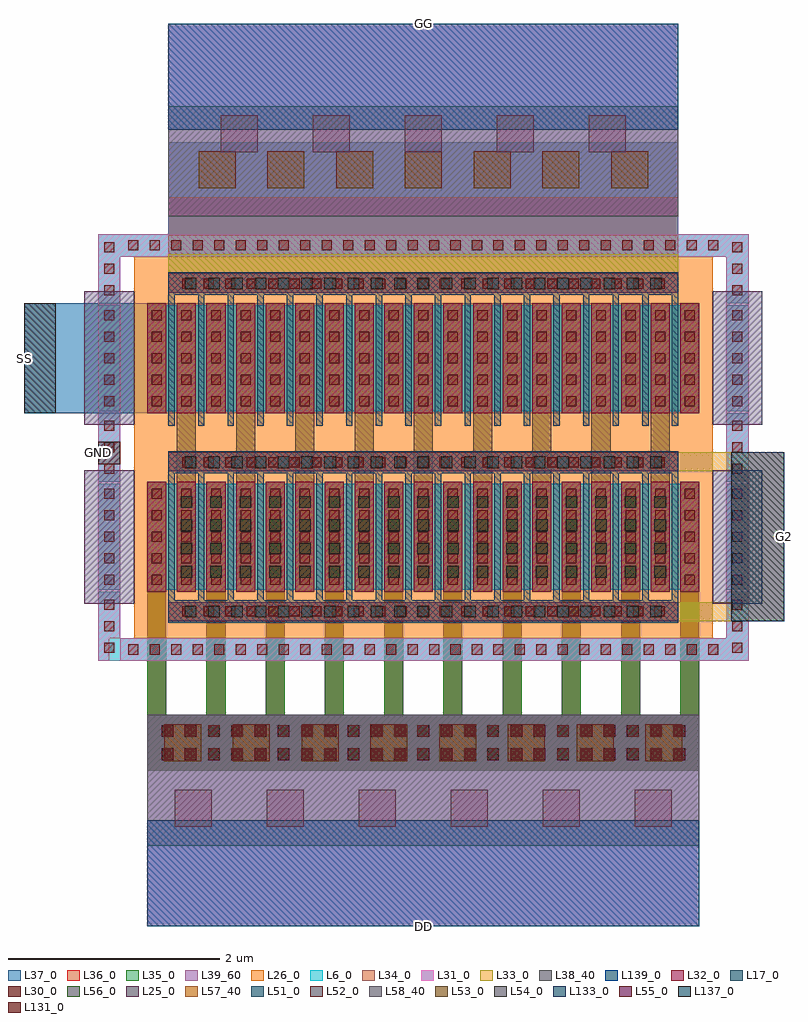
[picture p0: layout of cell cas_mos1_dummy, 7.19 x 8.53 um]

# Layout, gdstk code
import gdstk
lib = gdstk.Library(unit=1e-6, precision=1e-09)
def R(c, l, rs):  # rectangles x0, y0, x1, y1
    for r in rs: c.add(gdstk.rectangle(r[:2], r[2:], *l))
def A(c, l, x, y, w, h, nx, ny, dx, dy):  # array of equal rectangles
    R(c, l, [(x+i*dx, y+j*dy, x+i*dx+w, y+j*dy+h) for i in range(nx) for j in range(ny)])
def P(c, l, *ps):  # polygons
    for p in ps: c.add(gdstk.Polygon(p, *l))
L6_0 = (6, 0)
L17_0 = (17, 0)
L25_0 = (25, 0)
L26_0 = (26, 0)
L30_0 = (30, 0)
L31_0 = (31, 0)
L32_0 = (32, 0)
L33_0 = (33, 0)
L34_0 = (34, 0)
L35_0 = (35, 0)
L36_0 = (36, 0)
L37_0 = (37, 0)
L38_40 = (38, 40)
L39_60 = (39, 60)
L51_0 = (51, 0)
L52_0 = (52, 0)
L53_0 = (53, 0)
L54_0 = (54, 0)
L55_0 = (55, 0)
L56_0 = (56, 0)
L57_40 = (57, 40)
L58_40 = (58, 40)
L131_0 = (131, 0)
L133_0 = (133, 0)
L137_0 = (137, 0)
L139_0 = (139, 0)

cas_mos1_dummy = lib.new_cell('cas_mos1_dummy')
R(cas_mos1_dummy, L6_0, [(-0.47,-1.69,-0.26,-0.69), (0,-1.69,5.21,-0.69), (5.47,-1.69,5.68,-0.69), (-0.47,-0.67,-0.26,-0.02), (5.47,-0.67,5.68,-0.02), (-0.47,0,-0.26,1), (0,0,5.21,1), (5.47,0,5.68,1)])
P(cas_mos1_dummy, L6_0, [(-0.26,-1.71),(-0.47,-1.71),(-0.47,-2.36),(5.68,-2.36),(5.68,-2.36),(5.68,-1.71),(5.47,-1.71),(5.47,-2.15),(-0.26,-2.15)],
  [(-0.47,1.02),(-0.26,1.02),(-0.26,1.46),(5.47,1.46),(5.47,1.02),(5.68,1.02),(5.68,1.67),(5.68,1.67),(-0.47,1.67)])
A(cas_mos1_dummy, L17_0, 0.195, -1.79, 0.06, 1.2, 18, 1, 0.28, 0)
A(cas_mos1_dummy, L17_0, 0.195, -0.14, 0.06, 1.24, 18, 1, 0.28, 0)
R(cas_mos1_dummy, L17_0, [(0.195,-2,5.015,-1.79), (0.195,-0.59,5.015,-0.38), (0.195,1.1,5.015,1.31)])
R(cas_mos1_dummy, L25_0, [(-0.6,-1.82,-0.13,-0.56), (5.34,-1.82,5.81,-0.56), (-0.6,-0.13,-0.13,1.13), (5.34,-0.13,5.81,1.13)])
R(cas_mos1_dummy, L26_0, [(-0.13,-2.15,5.34,1.46)])
A(cas_mos1_dummy, L30_0, -0.183, -2.302, 0.095, 0.095, 28, 1, 0.203, 0)
A(cas_mos1_dummy, L30_0, -0.412, -2.285, 0.095, 0.095, 1, 3, 0, 0.203)
A(cas_mos1_dummy, L30_0, 5.527, -2.285, 0.095, 0.095, 1, 3, 0, 0.203)
A(cas_mos1_dummy, L30_0, 0.325, -1.942, 0.095, 0.094, 12, 2, 0.203, 3.1)
A(cas_mos1_dummy, L30_0, 3.369, -1.942, 0.095, 0.094, 6, 2, 0.203, 3.1)
A(cas_mos1_dummy, L30_0, -0.412, -1.643, 0.095, 0.095, 1, 5, 0, 0.203)
A(cas_mos1_dummy, L30_0, 0.037, -1.643, 0.095, 0.095, 1, 5, 0, 0.203)
A(cas_mos1_dummy, L30_0, 0.317, -1.643, 0.095, 0.095, 1, 5, 0, 0.203)
A(cas_mos1_dummy, L30_0, 0.598, -1.643, 0.094, 0.095, 6, 5, 0.28, 0.203)
A(cas_mos1_dummy, L30_0, 2.277, -1.643, 0.096, 0.095, 1, 5, 0, 0.203)
A(cas_mos1_dummy, L30_0, 2.558, -1.643, 0.094, 0.095, 1, 5, 0, 0.203)
A(cas_mos1_dummy, L30_0, 2.838, -1.643, 0.094, 0.095, 1, 5, 0, 0.203)
A(cas_mos1_dummy, L30_0, 3.117, -1.643, 0.095, 0.095, 1, 5, 0, 0.203)
A(cas_mos1_dummy, L30_0, 3.397, -1.643, 0.095, 0.095, 1, 5, 0, 0.203)
A(cas_mos1_dummy, L30_0, 3.678, -1.643, 0.094, 0.095, 6, 5, 0.28, 0.203)
A(cas_mos1_dummy, L30_0, 5.527, -1.643, 0.095, 0.095, 1, 5, 0, 0.203)
A(cas_mos1_dummy, L30_0, -0.412, -0.595, 0.095, 0.095, 1, 3, 0, 0.203)
A(cas_mos1_dummy, L30_0, 5.527, -0.595, 0.095, 0.095, 1, 3, 0, 0.203)
A(cas_mos1_dummy, L30_0, 0.325, -0.532, 0.095, 0.095, 12, 1, 0.203, 0)
A(cas_mos1_dummy, L30_0, 3.369, -0.532, 0.095, 0.095, 6, 1, 0.203, 0)
A(cas_mos1_dummy, L30_0, -0.412, 0.046, 0.095, 0.095, 1, 5, 0, 0.203)
A(cas_mos1_dummy, L30_0, 0.037, 0.046, 0.095, 0.095, 1, 5, 0, 0.203)
A(cas_mos1_dummy, L30_0, 0.317, 0.046, 0.095, 0.095, 1, 5, 0, 0.203)
A(cas_mos1_dummy, L30_0, 0.598, 0.046, 0.094, 0.095, 6, 5, 0.28, 0.203)
A(cas_mos1_dummy, L30_0, 2.277, 0.046, 0.096, 0.095, 1, 5, 0, 0.203)
A(cas_mos1_dummy, L30_0, 2.558, 0.046, 0.094, 0.095, 1, 5, 0, 0.203)
A(cas_mos1_dummy, L30_0, 2.838, 0.046, 0.094, 0.095, 1, 5, 0, 0.203)
A(cas_mos1_dummy, L30_0, 3.117, 0.046, 0.095, 0.095, 1, 5, 0, 0.203)
A(cas_mos1_dummy, L30_0, 3.397, 0.046, 0.095, 0.095, 1, 5, 0, 0.203)
A(cas_mos1_dummy, L30_0, 3.678, 0.046, 0.094, 0.095, 6, 5, 0.28, 0.203)
A(cas_mos1_dummy, L30_0, 5.527, 0.046, 0.095, 0.095, 1, 5, 0, 0.203)
A(cas_mos1_dummy, L30_0, -0.412, 1.094, 0.095, 0.095, 1, 3, 0, 0.203)
A(cas_mos1_dummy, L30_0, 5.527, 1.094, 0.095, 0.095, 1, 3, 0, 0.203)
A(cas_mos1_dummy, L30_0, -0.183, 1.518, 0.095, 0.094, 28, 1, 0.203, 0)
R(cas_mos1_dummy, L30_0, [(2.76,-1.942,2.856,-1.848), (2.964,-1.942,3.058,-1.848), (3.166,-1.942,3.262,-1.848), (4.588,-1.942,4.682,-1.848), (4.79,-1.942,4.886,-1.848), (2.76,-0.532,2.856,-0.437), (2.964,-0.532,3.058,-0.437), (3.166,-0.532,3.262,-0.437), (4.588,-0.532,4.682,-0.437), (4.79,-0.532,4.886,-0.437), (2.76,1.158,2.856,1.252), (2.964,1.158,3.058,1.252), (3.166,1.158,3.262,1.252), (4.588,1.158,4.682,1.252), (4.79,1.158,4.886,1.252)])
A(cas_mos1_dummy, L31_0, -0.005, -1.71, 0.18, 1.04, 19, 2, 0.28, 1.69)
R(cas_mos1_dummy, L31_0, [(0.195,-1.99,5.015,-1.81), (0.195,-0.57,5.015,-0.39), (0.195,1.12,5.015,1.3)])
P(cas_mos1_dummy, L31_0, [(-0.365,-2.15),(-0.365,-2.36),(5.68,-2.36),(5.68,-2.36),(5.68,1.67),(5.68,1.67),(-0.47,1.67),(-0.47,-2.36),(-0.26,-2.36),(-0.26,1.46),(5.47,1.46),(5.47,-2.15)])
A(cas_mos1_dummy, L32_0, -0.005, -1.71, 0.18, 1.04, 19, 2, 0.28, 1.69)
R(cas_mos1_dummy, L32_0, [(0.195,-1.99,5.015,-1.81), (0.195,-0.57,5.015,-0.39), (0.195,1.12,5.015,1.3)])
A(cas_mos1_dummy, L33_0, -0.005, -1.71, 0.18, 1.04, 19, 2, 0.28, 1.69)
R(cas_mos1_dummy, L33_0, [(0.195,-1.99,5.015,-1.81), (5.015,-1.99,5.515,-1.81), (5.515,-1.99,6.015,-0.39), (0.195,-0.57,5.015,-0.39), (5.015,-0.57,5.515,-0.39), (0.195,1.12,5.015,1.3), (0.195,1.3,5.015,1.48)])
A(cas_mos1_dummy, L34_0, -0.005, -1.71, 0.18, 1.04, 19, 2, 0.28, 1.69)
R(cas_mos1_dummy, L34_0, [(0.275,-0.67,0.455,-0.02), (0.275,-0.67,0.455,-0.02), (0.275,-0.67,0.455,-0.02), (0.275,-0.67,0.455,-0.02), (0.275,-0.67,0.455,-0.02), (0.835,-0.67,1.015,-0.02), (0.835,-0.67,1.015,-0.02), (0.835,-0.67,1.015,-0.02), (0.835,-0.67,1.015,-0.02), (0.835,-0.67,1.015,-0.02), (1.395,-0.67,1.575,-0.02), (1.395,-0.67,1.575,-0.02), (1.395,-0.67,1.575,-0.02), (1.395,-0.67,1.575,-0.02), (1.395,-0.67,1.575,-0.02), (1.955,-0.67,2.135,-0.02), (1.955,-0.67,2.135,-0.02), (1.955,-0.67,2.135,-0.02), (1.955,-0.67,2.135,-0.02), (1.955,-0.67,2.135,-0.02), (2.515,-0.67,2.695,-0.02), (2.515,-0.67,2.695,-0.02), (2.515,-0.67,2.695,-0.02), (2.515,-0.67,2.695,-0.02), (2.515,-0.67,2.695,-0.02), (3.075,-0.67,3.255,-0.02), (3.075,-0.67,3.255,-0.02), (3.075,-0.67,3.255,-0.02), (3.075,-0.67,3.255,-0.02), (3.075,-0.67,3.255,-0.02), (3.635,-0.67,3.815,-0.02), (3.635,-0.67,3.815,-0.02), (3.635,-0.67,3.815,-0.02), (3.635,-0.67,3.815,-0.02), (3.635,-0.67,3.815,-0.02), (4.195,-0.67,4.375,-0.02), (4.195,-0.67,4.375,-0.02), (4.195,-0.67,4.375,-0.02), (4.195,-0.67,4.375,-0.02), (4.195,-0.67,4.375,-0.02), (4.755,-0.67,4.935,-0.02), (4.755,-0.67,4.935,-0.02), (4.755,-0.67,4.935,-0.02), (4.755,-0.67,4.935,-0.02), (4.755,-0.67,4.935,-0.02), (0.195,1.3,5.015,1.66)])
A(cas_mos1_dummy, L35_0, -0.005, -1.71, 0.18, 1.04, 19, 2, 0.28, 1.69)
R(cas_mos1_dummy, L35_0, [(-0.005,-3.4,5.215,-2.87), (-0.005,-2.87,0.175,-1.71), (-0.005,-2.87,0.175,-1.71), (-0.005,-2.87,0.175,-1.71), (-0.005,-2.87,0.175,-1.71), (0.555,-2.87,0.735,-1.71), (0.555,-2.87,0.735,-1.71), (0.555,-2.87,0.735,-1.71), (0.555,-2.87,0.735,-1.71), (0.555,-2.87,0.735,-1.71), (1.115,-2.87,1.295,-1.71), (1.115,-2.87,1.295,-1.71), (1.115,-2.87,1.295,-1.71), (1.115,-2.87,1.295,-1.71), (1.115,-2.87,1.295,-1.71), (1.675,-2.87,1.855,-1.71), (1.675,-2.87,1.855,-1.71), (1.675,-2.87,1.855,-1.71), (1.675,-2.87,1.855,-1.71), (1.675,-2.87,1.855,-1.71), (2.235,-2.87,2.415,-1.71), (2.235,-2.87,2.415,-1.71), (2.235,-2.87,2.415,-1.71), (2.235,-2.87,2.415,-1.71), (2.235,-2.87,2.415,-1.71), (2.795,-2.87,2.975,-1.71), (2.795,-2.87,2.975,-1.71), (2.795,-2.87,2.975,-1.71), (2.795,-2.87,2.975,-1.71), (2.795,-2.87,2.975,-1.71), (3.355,-2.87,3.535,-1.71), (3.355,-2.87,3.535,-1.71), (3.355,-2.87,3.535,-1.71), (3.355,-2.87,3.535,-1.71), (3.355,-2.87,3.535,-1.71), (3.915,-2.87,4.095,-1.71), (3.915,-2.87,4.095,-1.71), (3.915,-2.87,4.095,-1.71), (3.915,-2.87,4.095,-1.71), (3.915,-2.87,4.095,-1.71), (4.475,-2.87,4.655,-1.71), (4.475,-2.87,4.655,-1.71), (4.475,-2.87,4.655,-1.71), (4.475,-2.87,4.655,-1.71), (4.475,-2.87,4.655,-1.71), (5.035,-2.87,5.215,-1.71), (5.035,-2.87,5.215,-1.71), (5.035,-2.87,5.215,-1.71), (5.035,-2.87,5.215,-1.71), (5.035,-2.87,5.215,-1.71), (-0.005,-2.36,0.175,-1.71), (5.035,-1.71,5.215,-0.67), (5.035,-1.71,5.215,-0.67), (5.035,-1.71,5.215,-0.67), (5.035,-1.71,5.215,-0.67), (5.035,-1.71,5.215,-0.67), (0.275,-0.67,0.455,-0.02), (0.275,-0.67,0.455,-0.02), (0.275,-0.67,0.455,-0.02), (0.275,-0.67,0.455,-0.02), (0.275,-0.67,0.455,-0.02), (0.835,-0.67,1.015,-0.02), (0.835,-0.67,1.015,-0.02), (0.835,-0.67,1.015,-0.02), (0.835,-0.67,1.015,-0.02), (0.835,-0.67,1.015,-0.02), (1.395,-0.67,1.575,-0.02), (1.395,-0.67,1.575,-0.02), (1.395,-0.67,1.575,-0.02), (1.395,-0.67,1.575,-0.02), (1.395,-0.67,1.575,-0.02), (1.955,-0.67,2.135,-0.02), (1.955,-0.67,2.135,-0.02), (1.955,-0.67,2.135,-0.02), (1.955,-0.67,2.135,-0.02), (1.955,-0.67,2.135,-0.02), (2.515,-0.67,2.695,-0.02), (2.515,-0.67,2.695,-0.02), (2.515,-0.67,2.695,-0.02), (2.515,-0.67,2.695,-0.02), (2.515,-0.67,2.695,-0.02), (3.075,-0.67,3.255,-0.02), (3.075,-0.67,3.255,-0.02), (3.075,-0.67,3.255,-0.02), (3.075,-0.67,3.255,-0.02), (3.075,-0.67,3.255,-0.02), (3.635,-0.67,3.815,-0.02), (3.635,-0.67,3.815,-0.02), (3.635,-0.67,3.815,-0.02), (3.635,-0.67,3.815,-0.02), (3.635,-0.67,3.815,-0.02), (4.195,-0.67,4.375,-0.02), (4.195,-0.67,4.375,-0.02), (4.195,-0.67,4.375,-0.02), (4.195,-0.67,4.375,-0.02), (4.195,-0.67,4.375,-0.02), (4.755,-0.67,4.935,-0.02), (4.755,-0.67,4.935,-0.02), (4.755,-0.67,4.935,-0.02), (4.755,-0.67,4.935,-0.02), (4.755,-0.67,4.935,-0.02), (0.195,1.48,5.015,1.84)])
R(cas_mos1_dummy, L36_0, [(-0.005,-3.4,5.215,-2.87), (-0.005,-2.87,0.175,-1.71), (-0.005,-2.87,0.175,-1.71), (-0.005,-2.87,0.175,-1.71), (-0.005,-2.87,0.175,-1.71), (0.555,-2.87,0.735,-1.71), (0.555,-2.87,0.735,-1.71), (0.555,-2.87,0.735,-1.71), (0.555,-2.87,0.735,-1.71), (0.555,-2.87,0.735,-1.71), (1.115,-2.87,1.295,-1.71), (1.115,-2.87,1.295,-1.71), (1.115,-2.87,1.295,-1.71), (1.115,-2.87,1.295,-1.71), (1.115,-2.87,1.295,-1.71), (1.675,-2.87,1.855,-1.71), (1.675,-2.87,1.855,-1.71), (1.675,-2.87,1.855,-1.71), (1.675,-2.87,1.855,-1.71), (1.675,-2.87,1.855,-1.71), (2.235,-2.87,2.415,-1.71), (2.235,-2.87,2.415,-1.71), (2.235,-2.87,2.415,-1.71), (2.235,-2.87,2.415,-1.71), (2.235,-2.87,2.415,-1.71), (2.795,-2.87,2.975,-1.71), (2.795,-2.87,2.975,-1.71), (2.795,-2.87,2.975,-1.71), (2.795,-2.87,2.975,-1.71), (2.795,-2.87,2.975,-1.71), (3.355,-2.87,3.535,-1.71), (3.355,-2.87,3.535,-1.71), (3.355,-2.87,3.535,-1.71), (3.355,-2.87,3.535,-1.71), (3.355,-2.87,3.535,-1.71), (3.915,-2.87,4.095,-1.71), (3.915,-2.87,4.095,-1.71), (3.915,-2.87,4.095,-1.71), (3.915,-2.87,4.095,-1.71), (3.915,-2.87,4.095,-1.71), (4.475,-2.87,4.655,-1.71), (4.475,-2.87,4.655,-1.71), (4.475,-2.87,4.655,-1.71), (4.475,-2.87,4.655,-1.71), (4.475,-2.87,4.655,-1.71), (5.035,-2.87,5.215,-1.71), (5.035,-2.87,5.215,-1.71), (5.035,-2.87,5.215,-1.71), (5.035,-2.87,5.215,-1.71), (5.035,-2.87,5.215,-1.71), (-0.005,-2.36,0.175,-1.71), (-0.005,-1.71,0.175,-0.67), (-0.005,-1.71,0.175,-0.67), (-0.005,-1.71,0.175,-0.67), (-0.005,-1.71,0.175,-0.67), (-0.005,-1.71,0.175,-0.67), (0.555,-1.71,0.735,-0.67), (0.555,-1.71,0.735,-0.67), (0.555,-1.71,0.735,-0.67), (0.555,-1.71,0.735,-0.67), (0.555,-1.71,0.735,-0.67), (1.115,-1.71,1.295,-0.67), (1.115,-1.71,1.295,-0.67), (1.115,-1.71,1.295,-0.67), (1.115,-1.71,1.295,-0.67), (1.115,-1.71,1.295,-0.67), (1.675,-1.71,1.855,-0.67), (1.675,-1.71,1.855,-0.67), (1.675,-1.71,1.855,-0.67), (1.675,-1.71,1.855,-0.67), (1.675,-1.71,1.855,-0.67), (2.235,-1.71,2.415,-0.67), (2.235,-1.71,2.415,-0.67), (2.235,-1.71,2.415,-0.67), (2.235,-1.71,2.415,-0.67), (2.235,-1.71,2.415,-0.67), (2.795,-1.71,2.975,-0.67), (2.795,-1.71,2.975,-0.67), (2.795,-1.71,2.975,-0.67), (2.795,-1.71,2.975,-0.67), (2.795,-1.71,2.975,-0.67), (3.355,-1.71,3.535,-0.67), (3.355,-1.71,3.535,-0.67), (3.355,-1.71,3.535,-0.67), (3.355,-1.71,3.535,-0.67), (3.355,-1.71,3.535,-0.67), (3.915,-1.71,4.095,-0.67), (3.915,-1.71,4.095,-0.67), (3.915,-1.71,4.095,-0.67), (3.915,-1.71,4.095,-0.67), (3.915,-1.71,4.095,-0.67), (4.475,-1.71,4.655,-0.67), (4.475,-1.71,4.655,-0.67), (4.475,-1.71,4.655,-0.67), (4.475,-1.71,4.655,-0.67), (4.475,-1.71,4.655,-0.67), (5.035,-1.71,5.215,-0.67), (5.035,-1.71,5.215,-0.67), (5.035,-1.71,5.215,-0.67), (5.035,-1.71,5.215,-0.67), (5.035,-1.71,5.215,-0.67), (-0.005,-0.02,0.175,1.02), (0.555,-0.02,0.735,1.02), (0.555,-0.02,0.735,1.02), (0.555,-0.02,0.735,1.02), (0.555,-0.02,0.735,1.02), (0.555,-0.02,0.735,1.02), (1.115,-0.02,1.295,1.02), (1.115,-0.02,1.295,1.02), (1.115,-0.02,1.295,1.02), (1.115,-0.02,1.295,1.02), (1.115,-0.02,1.295,1.02), (1.675,-0.02,1.855,1.02), (1.675,-0.02,1.855,1.02), (1.675,-0.02,1.855,1.02), (1.675,-0.02,1.855,1.02), (1.675,-0.02,1.855,1.02), (2.235,-0.02,2.415,1.02), (2.235,-0.02,2.415,1.02), (2.235,-0.02,2.415,1.02), (2.235,-0.02,2.415,1.02), (2.235,-0.02,2.415,1.02), (2.795,-0.02,2.975,1.02), (2.795,-0.02,2.975,1.02), (2.795,-0.02,2.975,1.02), (2.795,-0.02,2.975,1.02), (2.795,-0.02,2.975,1.02), (3.355,-0.02,3.535,1.02), (3.355,-0.02,3.535,1.02), (3.355,-0.02,3.535,1.02), (3.355,-0.02,3.535,1.02), (3.355,-0.02,3.535,1.02), (3.915,-0.02,4.095,1.02), (3.915,-0.02,4.095,1.02), (3.915,-0.02,4.095,1.02), (3.915,-0.02,4.095,1.02), (3.915,-0.02,4.095,1.02), (4.475,-0.02,4.655,1.02), (4.475,-0.02,4.655,1.02), (4.475,-0.02,4.655,1.02), (4.475,-0.02,4.655,1.02), (4.475,-0.02,4.655,1.02), (5.035,-0.02,5.215,1.02), (0.195,1.66,5.015,2.02)])
R(cas_mos1_dummy, L37_0, [(-0.005,-3.4,5.215,-2.87), (-0.005,-2.87,0.175,-1.71), (-0.005,-2.87,0.175,-1.71), (-0.005,-2.87,0.175,-1.71), (-0.005,-2.87,0.175,-1.71), (0.555,-2.87,0.735,-1.71), (0.555,-2.87,0.735,-1.71), (0.555,-2.87,0.735,-1.71), (0.555,-2.87,0.735,-1.71), (0.555,-2.87,0.735,-1.71), (1.115,-2.87,1.295,-1.71), (1.115,-2.87,1.295,-1.71), (1.115,-2.87,1.295,-1.71), (1.115,-2.87,1.295,-1.71), (1.115,-2.87,1.295,-1.71), (1.675,-2.87,1.855,-1.71), (1.675,-2.87,1.855,-1.71), (1.675,-2.87,1.855,-1.71), (1.675,-2.87,1.855,-1.71), (1.675,-2.87,1.855,-1.71), (2.235,-2.87,2.415,-1.71), (2.235,-2.87,2.415,-1.71), (2.235,-2.87,2.415,-1.71), (2.235,-2.87,2.415,-1.71), (2.235,-2.87,2.415,-1.71), (2.795,-2.87,2.975,-1.71), (2.795,-2.87,2.975,-1.71), (2.795,-2.87,2.975,-1.71), (2.795,-2.87,2.975,-1.71), (2.795,-2.87,2.975,-1.71), (3.355,-2.87,3.535,-1.71), (3.355,-2.87,3.535,-1.71), (3.355,-2.87,3.535,-1.71), (3.355,-2.87,3.535,-1.71), (3.355,-2.87,3.535,-1.71), (3.915,-2.87,4.095,-1.71), (3.915,-2.87,4.095,-1.71), (3.915,-2.87,4.095,-1.71), (3.915,-2.87,4.095,-1.71), (3.915,-2.87,4.095,-1.71), (4.475,-2.87,4.655,-1.71), (4.475,-2.87,4.655,-1.71), (4.475,-2.87,4.655,-1.71), (4.475,-2.87,4.655,-1.71), (4.475,-2.87,4.655,-1.71), (5.035,-2.87,5.215,-1.71), (5.035,-2.87,5.215,-1.71), (5.035,-2.87,5.215,-1.71), (5.035,-2.87,5.215,-1.71), (5.035,-2.87,5.215,-1.71), (-0.005,-2.36,0.175,-1.71), (-0.005,-1.71,0.175,-0.67), (-0.005,-1.71,0.175,-0.67), (-0.005,-1.71,0.175,-0.67), (-0.005,-1.71,0.175,-0.67), (-0.005,-1.71,0.175,-0.67), (0.555,-1.71,0.735,-0.67), (0.555,-1.71,0.735,-0.67), (0.555,-1.71,0.735,-0.67), (0.555,-1.71,0.735,-0.67), (0.555,-1.71,0.735,-0.67), (1.115,-1.71,1.295,-0.67), (1.115,-1.71,1.295,-0.67), (1.115,-1.71,1.295,-0.67), (1.115,-1.71,1.295,-0.67), (1.115,-1.71,1.295,-0.67), (1.675,-1.71,1.855,-0.67), (1.675,-1.71,1.855,-0.67), (1.675,-1.71,1.855,-0.67), (1.675,-1.71,1.855,-0.67), (1.675,-1.71,1.855,-0.67), (2.235,-1.71,2.415,-0.67), (2.235,-1.71,2.415,-0.67), (2.235,-1.71,2.415,-0.67), (2.235,-1.71,2.415,-0.67), (2.235,-1.71,2.415,-0.67), (2.795,-1.71,2.975,-0.67), (2.795,-1.71,2.975,-0.67), (2.795,-1.71,2.975,-0.67), (2.795,-1.71,2.975,-0.67), (2.795,-1.71,2.975,-0.67), (3.355,-1.71,3.535,-0.67), (3.355,-1.71,3.535,-0.67), (3.355,-1.71,3.535,-0.67), (3.355,-1.71,3.535,-0.67), (3.355,-1.71,3.535,-0.67), (3.915,-1.71,4.095,-0.67), (3.915,-1.71,4.095,-0.67), (3.915,-1.71,4.095,-0.67), (3.915,-1.71,4.095,-0.67), (3.915,-1.71,4.095,-0.67), (4.475,-1.71,4.655,-0.67), (4.475,-1.71,4.655,-0.67), (4.475,-1.71,4.655,-0.67), (4.475,-1.71,4.655,-0.67), (4.475,-1.71,4.655,-0.67), (5.035,-1.71,5.215,-0.67), (5.035,-1.71,5.215,-0.67), (5.035,-1.71,5.215,-0.67), (5.035,-1.71,5.215,-0.67), (5.035,-1.71,5.215,-0.67), (-1.17,-0.02,5.215,1.02), (0.195,1.84,5.015,2.54)])
R(cas_mos1_dummy, L38_40, [(-0.005,-4.11,5.215,-2.87), (0.195,1.84,5.015,2.88)])
R(cas_mos1_dummy, L39_60, [(-0.005,-4.87,5.215,-2.87), (0.195,1.66,5.015,3.66)])
A(cas_mos1_dummy, L51_0, 0.35, -1.95, 0.11, 0.11, 21, 2, 0.22, 1.41)
A(cas_mos1_dummy, L51_0, 0.31, -1.575, 0.11, 0.11, 17, 4, 0.28, 0.22)
A(cas_mos1_dummy, L51_0, 0.35, 1.15, 0.11, 0.11, 21, 1, 0.22, 0)
A(cas_mos1_dummy, L52_0, 0.35, -1.95, 0.11, 0.11, 21, 2, 0.22, 1.41)
A(cas_mos1_dummy, L52_0, 0.31, -1.575, 0.11, 0.11, 17, 4, 0.28, 0.22)
A(cas_mos1_dummy, L52_0, 0.35, 1.15, 0.11, 0.11, 21, 1, 0.22, 0)
A(cas_mos1_dummy, L53_0, 0.31, -1.575, 0.11, 0.11, 17, 4, 0.28, 0.22)
A(cas_mos1_dummy, L54_0, 0.31, -1.575, 0.11, 0.11, 17, 4, 0.28, 0.22)
A(cas_mos1_dummy, L55_0, 0.13, -3.3, 0.11, 0.11, 23, 2, 0.22, 0.22)
A(cas_mos1_dummy, L56_0, 0.13, -3.3, 0.11, 0.11, 23, 2, 0.22, 0.22)
R(cas_mos1_dummy, L56_0, [(0.59,-1.575,0.7,-1.465), (0.59,-1.575,0.7,-1.465), (0.59,-1.575,0.7,-1.465), (0.59,-1.575,0.7,-1.465), (0.59,-1.575,0.7,-1.465), (1.15,-1.575,1.26,-1.465), (1.15,-1.575,1.26,-1.465), (1.15,-1.575,1.26,-1.465), (1.15,-1.575,1.26,-1.465), (1.15,-1.575,1.26,-1.465), (1.71,-1.575,1.82,-1.465), (1.71,-1.575,1.82,-1.465), (1.71,-1.575,1.82,-1.465), (1.71,-1.575,1.82,-1.465), (1.71,-1.575,1.82,-1.465), (2.27,-1.575,2.38,-1.465), (2.27,-1.575,2.38,-1.465), (2.27,-1.575,2.38,-1.465), (2.27,-1.575,2.38,-1.465), (2.27,-1.575,2.38,-1.465), (2.83,-1.575,2.94,-1.465), (2.83,-1.575,2.94,-1.465), (2.83,-1.575,2.94,-1.465), (2.83,-1.575,2.94,-1.465), (2.83,-1.575,2.94,-1.465), (3.39,-1.575,3.5,-1.465), (3.39,-1.575,3.5,-1.465), (3.39,-1.575,3.5,-1.465), (3.39,-1.575,3.5,-1.465), (3.39,-1.575,3.5,-1.465), (3.95,-1.575,4.06,-1.465), (3.95,-1.575,4.06,-1.465), (3.95,-1.575,4.06,-1.465), (3.95,-1.575,4.06,-1.465), (3.95,-1.575,4.06,-1.465), (4.51,-1.575,4.62,-1.465), (4.51,-1.575,4.62,-1.465), (4.51,-1.575,4.62,-1.465), (4.51,-1.575,4.62,-1.465), (4.51,-1.575,4.62,-1.465), (0.59,-1.355,0.7,-1.245), (0.59,-1.355,0.7,-1.245), (0.59,-1.355,0.7,-1.245), (0.59,-1.355,0.7,-1.245), (0.59,-1.355,0.7,-1.245), (1.15,-1.355,1.26,-1.245), (1.15,-1.355,1.26,-1.245), (1.15,-1.355,1.26,-1.245), (1.15,-1.355,1.26,-1.245), (1.15,-1.355,1.26,-1.245), (1.71,-1.355,1.82,-1.245), (1.71,-1.355,1.82,-1.245), (1.71,-1.355,1.82,-1.245), (1.71,-1.355,1.82,-1.245), (1.71,-1.355,1.82,-1.245), (2.27,-1.355,2.38,-1.245), (2.27,-1.355,2.38,-1.245), (2.27,-1.355,2.38,-1.245), (2.27,-1.355,2.38,-1.245), (2.27,-1.355,2.38,-1.245), (2.83,-1.355,2.94,-1.245), (2.83,-1.355,2.94,-1.245), (2.83,-1.355,2.94,-1.245), (2.83,-1.355,2.94,-1.245), (2.83,-1.355,2.94,-1.245), (3.39,-1.355,3.5,-1.245), (3.39,-1.355,3.5,-1.245), (3.39,-1.355,3.5,-1.245), (3.39,-1.355,3.5,-1.245), (3.39,-1.355,3.5,-1.245), (3.95,-1.355,4.06,-1.245), (3.95,-1.355,4.06,-1.245), (3.95,-1.355,4.06,-1.245), (3.95,-1.355,4.06,-1.245), (3.95,-1.355,4.06,-1.245), (4.51,-1.355,4.62,-1.245), (4.51,-1.355,4.62,-1.245), (4.51,-1.355,4.62,-1.245), (4.51,-1.355,4.62,-1.245), (4.51,-1.355,4.62,-1.245), (0.59,-1.135,0.7,-1.025), (0.59,-1.135,0.7,-1.025), (0.59,-1.135,0.7,-1.025), (0.59,-1.135,0.7,-1.025), (0.59,-1.135,0.7,-1.025), (1.15,-1.135,1.26,-1.025), (1.15,-1.135,1.26,-1.025), (1.15,-1.135,1.26,-1.025), (1.15,-1.135,1.26,-1.025), (1.15,-1.135,1.26,-1.025), (1.71,-1.135,1.82,-1.025), (1.71,-1.135,1.82,-1.025), (1.71,-1.135,1.82,-1.025), (1.71,-1.135,1.82,-1.025), (1.71,-1.135,1.82,-1.025), (2.27,-1.135,2.38,-1.025), (2.27,-1.135,2.38,-1.025), (2.27,-1.135,2.38,-1.025), (2.27,-1.135,2.38,-1.025), (2.27,-1.135,2.38,-1.025), (2.83,-1.135,2.94,-1.025), (2.83,-1.135,2.94,-1.025), (2.83,-1.135,2.94,-1.025), (2.83,-1.135,2.94,-1.025), (2.83,-1.135,2.94,-1.025), (3.39,-1.135,3.5,-1.025), (3.39,-1.135,3.5,-1.025), (3.39,-1.135,3.5,-1.025), (3.39,-1.135,3.5,-1.025), (3.39,-1.135,3.5,-1.025), (3.95,-1.135,4.06,-1.025), (3.95,-1.135,4.06,-1.025), (3.95,-1.135,4.06,-1.025), (3.95,-1.135,4.06,-1.025), (3.95,-1.135,4.06,-1.025), (4.51,-1.135,4.62,-1.025), (4.51,-1.135,4.62,-1.025), (4.51,-1.135,4.62,-1.025), (4.51,-1.135,4.62,-1.025), (4.51,-1.135,4.62,-1.025), (0.59,-0.915,0.7,-0.805), (0.59,-0.915,0.7,-0.805), (0.59,-0.915,0.7,-0.805), (0.59,-0.915,0.7,-0.805), (0.59,-0.915,0.7,-0.805), (1.15,-0.915,1.26,-0.805), (1.15,-0.915,1.26,-0.805), (1.15,-0.915,1.26,-0.805), (1.15,-0.915,1.26,-0.805), (1.15,-0.915,1.26,-0.805), (1.71,-0.915,1.82,-0.805), (1.71,-0.915,1.82,-0.805), (1.71,-0.915,1.82,-0.805), (1.71,-0.915,1.82,-0.805), (1.71,-0.915,1.82,-0.805), (2.27,-0.915,2.38,-0.805), (2.27,-0.915,2.38,-0.805), (2.27,-0.915,2.38,-0.805), (2.27,-0.915,2.38,-0.805), (2.27,-0.915,2.38,-0.805), (2.83,-0.915,2.94,-0.805), (2.83,-0.915,2.94,-0.805), (2.83,-0.915,2.94,-0.805), (2.83,-0.915,2.94,-0.805), (2.83,-0.915,2.94,-0.805), (3.39,-0.915,3.5,-0.805), (3.39,-0.915,3.5,-0.805), (3.39,-0.915,3.5,-0.805), (3.39,-0.915,3.5,-0.805), (3.39,-0.915,3.5,-0.805), (3.95,-0.915,4.06,-0.805), (3.95,-0.915,4.06,-0.805), (3.95,-0.915,4.06,-0.805), (3.95,-0.915,4.06,-0.805), (3.95,-0.915,4.06,-0.805), (4.51,-0.915,4.62,-0.805), (4.51,-0.915,4.62,-0.805), (4.51,-0.915,4.62,-0.805), (4.51,-0.915,4.62,-0.805), (4.51,-0.915,4.62,-0.805)])
A(cas_mos1_dummy, L57_40, 0.155, -3.31, 0.35, 0.35, 8, 1, 0.65, 0)
A(cas_mos1_dummy, L57_40, 0.48, 2.105, 0.35, 0.35, 7, 1, 0.65, 0)
A(cas_mos1_dummy, L58_40, 0.255, -3.93, 0.35, 0.35, 6, 1, 0.87, 0)
A(cas_mos1_dummy, L58_40, 0.69, 2.445, 0.35, 0.35, 5, 1, 0.87, 0)
R(cas_mos1_dummy, L131_0, [(-0.47,-0.502,-0.26,-0.292)])
R(cas_mos1_dummy, L133_0, [(5.515,-1.99,6.015,-0.39)])
R(cas_mos1_dummy, L137_0, [(-1.17,-0.02,-0.87,1.02)])
R(cas_mos1_dummy, L139_0, [(-0.005,-4.87,5.215,-3.87), (0.195,2.66,5.015,3.66)])
cas_mos1_dummy.add(gdstk.Label('SS', (-1.17,0.5), layer=137, texttype=0))
cas_mos1_dummy.add(gdstk.Label('GG', (2.605,3.66), layer=139, texttype=0))
cas_mos1_dummy.add(gdstk.Label('DD', (2.605,-4.87), layer=139, texttype=0))
cas_mos1_dummy.add(gdstk.Label('G2', (6.015,-1.19), layer=133, texttype=0))
cas_mos1_dummy.add(gdstk.Label('GND', (-0.47,-0.397), layer=131, texttype=0))

lib.write_gds('cas_mos1_dummy.gds')
